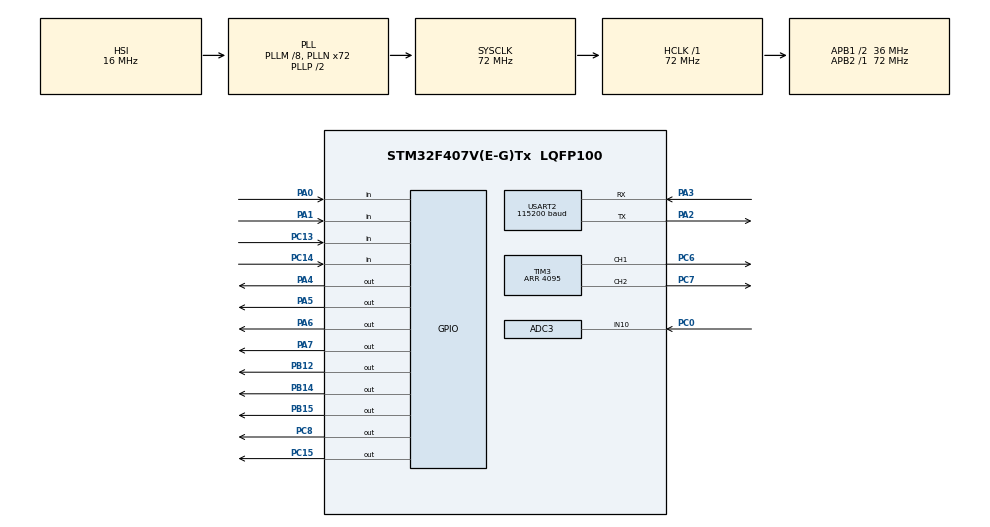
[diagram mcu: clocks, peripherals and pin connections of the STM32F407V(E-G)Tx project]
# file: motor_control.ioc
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ADC3.Channel-0\#ChannelRegularConversion=ADC_CHANNEL_10
ADC3.NbrOfConversionFlag=1
ADC3.Rank-0\#ChannelRegularConversion=1
ADC3.SamplingTime-0\#ChannelRegularConversion=ADC_SAMPLETIME_3CYCLES
Dma.Request0=USART2_RX
Dma.Request1=USART2_TX
Dma.USART2_RX.0.Direction=DMA_PERIPH_TO_MEMORY
Dma.USART2_RX.0.FIFOMode=DMA_FIFOMODE_DISABLE
Dma.USART2_RX.0.Instance=DMA1_Stream5
Dma.USART2_RX.0.MemDataAlignment=DMA_MDATAALIGN_BYTE
Dma.USART2_RX.0.MemInc=DMA_MINC_ENABLE
Dma.USART2_RX.0.Mode=DMA_NORMAL
Dma.USART2_RX.0.PeriphDataAlignment=DMA_PDATAALIGN_BYTE
Dma.USART2_RX.0.PeriphInc=DMA_PINC_DISABLE
Dma.USART2_RX.0.Priority=DMA_PRIORITY_LOW
Dma.USART2_TX.1.Direction=DMA_MEMORY_TO_PERIPH
Dma.USART2_TX.1.FIFOMode=DMA_FIFOMODE_DISABLE
Dma.USART2_TX.1.Instance=DMA1_Stream6
Dma.USART2_TX.1.MemDataAlignment=DMA_MDATAALIGN_BYTE
Dma.USART2_TX.1.MemInc=DMA_MINC_ENABLE
Dma.USART2_TX.1.Mode=DMA_NORMAL
Dma.USART2_TX.1.PeriphDataAlignment=DMA_PDATAALIGN_BYTE
Dma.USART2_TX.1.PeriphInc=DMA_PINC_DISABLE
Dma.USART2_TX.1.Priority=DMA_PRIORITY_LOW
Mcu.Family=STM32F4
Mcu.Name=STM32F407V(E-G)Tx
Mcu.Package=LQFP100
NVIC.DMA1_Stream5_IRQn=true\:0\:0\:false\:false\:true\:false\:true\:true
NVIC.DMA1_Stream6_IRQn=true\:0\:0\:false\:false\:true\:false\:true\:true
NVIC.PriorityGroup=NVIC_PRIORITYGROUP_4
NVIC.TIM6_DAC_IRQn=true\:0\:0\:false\:false\:true\:true\:true\:true
NVIC.USART2_IRQn=true\:0\:0\:false\:false\:true\:true\:true\:true
PA0-WKUP.Signal=GPIO_Input
PA1.Signal=GPIO_Input
PA13.Signal=SYS_JTMS-SWDIO
PA2.Mode=Asynchronous
PA2.Signal=USART2_TX
PA3.Mode=Asynchronous
PA3.Signal=USART2_RX
PA4.Signal=GPIO_Output
PA5.Signal=GPIO_Output
PA6.Signal=GPIO_Output
PA7.Signal=GPIO_Output
PB12.Signal=GPIO_Output
PB14.Signal=GPIO_Output
PB15.Signal=GPIO_Output
PC0.Signal=ADCx_IN10
PC13-ANTI_TAMP.Signal=GPIO_Input
PC14-OSC32_IN.Signal=GPIO_Input
PC15-OSC32_OUT.Signal=GPIO_Output
PC6.Signal=S_TIM3_CH1
PC7.Signal=S_TIM3_CH2
PC8.Signal=GPIO_Output
PH0-OSC_IN.Mode=HSE-External-Oscillator
PH0-OSC_IN.Signal=RCC_OSC_IN
PH1-OSC_OUT.Mode=HSE-External-Oscillator
PH1-OSC_OUT.Signal=RCC_OSC_OUT
ProjectManager.HeapSize=0x200
ProjectManager.StackSize=0x400
ProjectManager.TargetToolchain=STM32CubeIDE
RCC.48MHZClocksFreq_Value=36000000
RCC.AHBFreq_Value=72000000
RCC.APB1CLKDivider=RCC_HCLK_DIV2
RCC.APB1Freq_Value=36000000
RCC.APB1TimFreq_Value=72000000
RCC.APB2Freq_Value=72000000
RCC.APB2TimFreq_Value=72000000
RCC.CortexFreq_Value=72000000
RCC.HCLKFreq_Value=72000000
RCC.HSE_VALUE=25000000
RCC.HSI_VALUE=16000000
RCC.LSE_VALUE=32768
RCC.PLLM=8
RCC.PLLN=72
RCC.SYSCLKFreq_VALUE=72000000
RCC.SYSCLKSource=RCC_SYSCLKSOURCE_PLLCLK
RCC.VCOOutputFreq_Value=144000000
SH.ADCx_IN10.0=ADC3_IN10,IN10
SH.S_TIM3_CH1.0=TIM3_CH1,PWM Generation1 CH1
SH.S_TIM3_CH2.0=TIM3_CH2,PWM Generation2 CH2
TIM3.AutoReloadPreload=TIM_AUTORELOAD_PRELOAD_ENABLE
TIM3.Channel-PWM\ Generation1\ CH1=TIM_CHANNEL_1
TIM3.Channel-PWM\ Generation2\ CH2=TIM_CHANNEL_2
TIM3.Period=4095
TIM3.Pulse-PWM\ Generation1\ CH1=4095
TIM3.Pulse-PWM\ Generation2\ CH2=4095
TIM6.Period=999
TIM6.Prescaler=7199
TIM6.TIM_MasterOutputTrigger=TIM_TRGO_UPDATE
USART2.BaudRate=115200
USART2.Parity=PARITY_NONE
USART2.VirtualMode=VM_ASYNC
VP_TIM3_VS_ClockSourceINT.Mode=Internal
VP_TIM6_VS_ClockSourceINT.Mode=Enable_Timer
board=custom

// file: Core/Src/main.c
/* USER CODE BEGIN Header */
/**
  ******************************************************************************
  * @file           : main.c
  * @brief          : Main program body
  ******************************************************************************
  * @attention
  *
  * Copyright (c) 2023 STMicroelectronics.
  * All rights reserved.
  *
  * This software is licensed under terms that can be found in the LICENSE file
  * in the root directory of this software component.
  * If no LICENSE file comes with this software, it is provided AS-IS.
  *
  ******************************************************************************
  */
/* USER CODE END Header */
#include "main.h"

/* USER CODE BEGIN Includes */
#include <stdio.h>
#include <string.h>
#include <stdbool.h>

/* USER CODE END Includes */

/* USER CODE BEGIN PD */

#define SPRAYER_PIN_CLASS   GPIOB
#define SPRAYER_CONTROL_PIN GPIO_PIN_12
// Number of milliseconds we want to have the sprayer on for
#define SPRAYER_DELAY       1000  //1000

// These defines list the pins for the
// brushless motors that drive the chassis
#define MOTOR_HALT      0
#define MOTOR_F         1
#define MOTOR_FS        2
#define MOTOR_B         3
#define MOTOR_BS        4

#define TURN_MAX		12

#define CAMERA_HALT	    15		//15

// Number of milliseconds we want to ignore inputs during reset
#define IGNORE_DELAY    2000	//20000
// Time to wait after we've lost the object to reset
#define RESET_COUNT     100

#define FULL_SPEED      4095
#define HALF_SPEED      2048
#define REALLY_SLOW     1024

/* USER CODE END PD */

ADC_HandleTypeDef hadc3;

TIM_HandleTypeDef htim3;
TIM_HandleTypeDef htim6;

UART_HandleTypeDef huart2;
DMA_HandleTypeDef hdma_usart2_rx;
DMA_HandleTypeDef hdma_usart2_tx;

/* USER CODE BEGIN PV */
uint32_t VR;
uint8_t dma_tx_buffer[BUFFER_SIZE];
uint8_t dma_rx_buffer[BUFFER_SIZE];
//uint8_t finished_turn;
//uint8_t handled_detected_object;
uint8_t global_status;
int8_t direction;
float degree;
// The amount of time the camera has been held in place
uint16_t spray_counter_1;

// The amount of time the chassis has been halted
uint16_t spray_counter_2;

// The amount of time the sprayer has remaining to spray
int16_t spray_time;

// The amount of time the object has been out of frame
uint16_t reset_counter;

// The amount of time remaining in which we ignore input
int16_t ignore_counter;

// Angle the camera has turned to allow us to reset to center
int turn_counter;

// Global variable that determines the state of the
// motors
// 0: halt, 1: forward, 2: backward
//volatile uint8_t MOTOR_STATE_VAR;

/* USER CODE END PV */

void SystemClock_Config(void);
static void MX_GPIO_Init(void);
static void MX_DMA_Init(void);
static void MX_ADC3_Init(void);
static void MX_USART2_UART_Init(void);
static void MX_TIM6_Init(void);
static void MX_TIM3_Init(void);
/* USER CODE BEGIN PFP */

void stepper_half_drive(int step);
void stepper_step_angle (float angle, int direction);
void motor_state_selector(int state);
void stepper_motor_reset(void);
void loop_motor_wait(int ticks);

// Takes a state input and sets the motor pins
// to execute the movement as follows:
// 0 - halt
// 1 - forward
// 2 - backward
// 3 - left
// 4 - right
void change_motor_state(short state);

int abs(int x)
{
	int i;
	if (x < 0)
	{
		i = (-1) * x;
		return i;
	}
	return x;
}

// Takes the arm motor's current state and returns the
// updated state with respect to the ARM global variable
int check_aim(int state);

/* USER CODE END PFP */

/* USER CODE BEGIN 0 */

void HAL_TIM_PeriodElapsedCallback(TIM_HandleTypeDef *htim)
{

  memcpy(dma_tx_buffer, dma_rx_buffer, BUFFER_SIZE);
//  memset(dma_rx_buffer, 0, BUFFER_SIZE);
  if (global_status == 1)
  {
	  //Check for Stepper motor command
	  if(dma_tx_buffer[0] == 'R')
	  {
		  direction = 1;
		  degree = 4.0;
		  spray_counter_1 = 0;
		  reset_counter = 0;
	  }
	  else if(dma_tx_buffer[0] == 'r')
	  {
		  direction = 1;
		  degree = 2.0;
		  spray_counter_1 = 0;
		  reset_counter = 0;
	  }
	  else if(dma_tx_buffer[0] == 'L')
	  {
		  direction = 0;
		  degree = 4.0;
		  spray_counter_1 = 0;
		  reset_counter = 0;
	  }
	  else if(dma_tx_buffer[0] == 'l')
	  {
		  direction = 0;
		  degree = 2.0;
		  spray_counter_1 = 0;
		  reset_counter = 0;
	  }
	  else if (dma_tx_buffer[0] == 'H')
	  {
		  direction = 2;
		  degree = 0.0;
		  reset_counter = 0;
		  if(spray_counter_1 <= CAMERA_HALT)
		  {
			  spray_counter_1++;
		  }
	  }
	  else if (dma_tx_buffer[0] == 'M')
	  {
		  direction = 2;
		  degree = 0.0;
		  if (reset_counter <= RESET_COUNT)
		  {
			  reset_counter++;
		  }
	  }
	  else
	  {
		  direction = 2;
		  degree = 0.0;
	  }

	  if(dma_tx_buffer[1] == 'F')
	  {
		  motor_state_selector(MOTOR_F);
		  spray_counter_2 = 0;
		  reset_counter = 0;

	  }
	  else if(dma_tx_buffer[1] == 'S')
	  {
		  motor_state_selector(MOTOR_FS);
		  spray_counter_2 = 0;
		  reset_counter = 0;
	  }
	  else if(dma_tx_buffer[1] == 'H')
	  {
		  motor_state_selector(MOTOR_HALT);
		  reset_counter = 0;
		  if(spray_counter_2 <= CAMERA_HALT)
		  {
			  spray_counter_2++;
		  }
	  }
	  else
	  {
		  // We did not detect the object, halt and wait for further info
		  motor_state_selector(MOTOR_HALT);
	  }

  }

}

void HAL_UART_RxCpltCallback(UART_HandleTypeDef *huart)
{
//  memcpy(dma_tx_buffer, dma_rx_buffer, BUFFER_SIZE);
//  if (global_status == 1)
//  {
//	  //Check for Stepper motor command
//	  if(dma_tx_buffer[0] == 'R')
//	  {
//		  direction = 1;
//		  degree = 10.0;
//		  spray_counter_1 = 0;
//		  reset_counter = 0;
//	  }
//	  else if(dma_tx_buffer[0] == 'r')
//	  {
//		  direction = 1;
//		  degree = 5.0;
//		  spray_counter_1 = 0;
//		  reset_counter = 0;
//	  }
//	  else if(dma_tx_buffer[0] == 'L')
//	  {
//		  direction = 0;
//		  degree = 10.0;
//		  spray_counter_1 = 0;
//		  reset_counter = 0;
//	  }
//	  else if(dma_tx_buffer[0] == 'l')
//	  {
//		  direction = 0;
//		  degree = 5.0;
//		  spray_counter_1 = 0;
//		  reset_counter = 0;
//	  }
//	  else if (dma_tx_buffer[0] == 'H')
//	  {
//		  direction = 2;
//		  degree = 0.0;
//		  reset_counter = 0;
//		  if(spray_counter_1 <= CAMERA_HALT)
//		  {
//			  ++spray_counter_1;
//		  }
//	  }
//	  else if (dma_tx_buffer[0] == 'M')
//	  {
//		  direction = 2;
//		  degree = 0.0;
//		  if (reset_counter <= RESET_COUNT)
//		  {
//			  ++reset_counter;
//		  }
//	  }
//	  else
//	  {
//		  direction = 2;
//		  degree = 0.0;
//	  }
//
//
//	  if(dma_tx_buffer[1] == 'F')
//	  {
//		  motor_state_selector(MOTOR_F);
//		  spray_counter_2 = 0;
//		  reset_counter = 0;
//
//	  }
//	  else if(dma_tx_buffer[1] == 'S')
//	  {
//		  motor_state_selector(MOTOR_FS);
//		  spray_counter_2 = 0;
//		  reset_counter = 0;
//	  }
//	  else if(dma_tx_buffer[1] == 'H')
//	  {
//		  motor_state_selector(MOTOR_HALT);
//		  reset_counter = 0;
//		  if(spray_counter_2 <= CAMERA_HALT)
//		  {
//			  ++spray_counter_2;
//		  }
//	  }
//	  else
//	  {
//		  // We did not detect the object, halt and wait for further info
//		  motor_state_selector(MOTOR_HALT);
//	  }
//
//  }
  HAL_UART_Receive_DMA(&huart2, dma_rx_buffer, 2);
}

void DMA_Message_Init(void)
{
	uint8_t i;
	for(i = 0; i < BUFFER_SIZE; i++)
	{
		dma_rx_buffer[i] = 'M';
		dma_tx_buffer[i] = 'M';
	}
}

void Counter_Init(void)
{
	spray_counter_1 = 0;
	spray_counter_2 = 0;
	spray_time = 0;
	reset_counter = 0;
	ignore_counter = 0;
	turn_counter = 0;
	direction = 2;
	degree = 0.0;
}

void Global_Status_Init(void)
{
	global_status = 0;
}

void stepper_motor_reset(void)
{

	if(turn_counter < 0)
	{
		direction = 0;
		degree = (float)(turn_counter * 2 * -1);
		stepper_step_angle(degree, direction);
	}
	else if (turn_counter > 0)
	{
		direction = 1;
		degree = (float)(turn_counter * 2);
		stepper_step_angle(degree, direction);
	}

//	degree = (float)(turn_counter * 5);
//	stepper_step_angle(degree, direction);
	turn_counter = 0;
//	turn_amount = 0;
}

/* USER CODE END 0 */

int main(void)
{

  /* MCU Configuration--------------------------------------------------------*/

  /* Reset of all peripherals, Initializes the Flash interface and the Systick. */
  HAL_Init();

  /* Configure the system clock */
  SystemClock_Config();

  /* Initialize all configured peripherals */
  MX_GPIO_Init();
  MX_DMA_Init();
  MX_ADC3_Init();
  MX_USART2_UART_Init();
  MX_TIM6_Init();
  MX_TIM3_Init();
  /* USER CODE BEGIN 2 */
  HAL_ADC_Start_DMA(&hadc3, &VR, 1);
  DMA_Message_Init();
  HAL_UART_Receive_DMA(&huart2, dma_rx_buffer, 2);
  HAL_TIM_Base_Start_IT(&htim6);
  HAL_TIM_PWM_Start(&htim3, TIM_CHANNEL_1);
  HAL_TIM_PWM_Start(&htim3, TIM_CHANNEL_2);
  Global_Status_Init();
  Counter_Init();
//  turn_counter = 0;
  /* USER CODE END 2 */

  /* Infinite loop */
  /* USER CODE BEGIN WHILE */
  while (1)
  {
//	  if (test) {
//		  test = false;
//		  stepper_step_angle(60.0, 1);
//	  }
//	  stepper_step_angle(30, 1);

//	  motor_state_selector(MOTOR_F);
//	  stepper_motor_reset();

	  if (global_status == 0)
	  {
		  if (dma_tx_buffer[0] != 'M' && dma_tx_buffer[1] != 'M' )
		  {
			  global_status = 1;
		  }
		  else
		  {
			  motor_state_selector(MOTOR_F);
		  }

	  }

	  if (global_status == 1)
	  {
		  if (reset_counter <= RESET_COUNT && spray_counter_1 <= CAMERA_HALT && spray_counter_2 <= CAMERA_HALT)
		  {
			  // Rotate sprayer nozzle and track total degrees

			  if(direction == 0)
			  {
				  if(degree == 4.0)
				  {
					  turn_counter = turn_counter + 2;
				  }
				  else if(degree == 2.0)
				  {
					  turn_counter = turn_counter + 1;;
				  }
			  }
			  else if (direction == 1)
			  {
				  if(degree == 4.0)
				  {
					  turn_counter = turn_counter - 2;
				  }
				  else if(degree == 2.0)
				  {
					  turn_counter = turn_counter -1;
				  }
			  }
			  stepper_step_angle(degree, direction);
	//		  stepper_step_angle(degree, direction);
//			  if (abs(turn_counter + turn_amount) > TURN_MAX) {
//				  // We are being asked to overturn, give up on this target and move on
//				  stepper_motor_reset();
//			  } else {
//				  // The turn looks good, execute

//			  }
		  }
		  else if (reset_counter <= RESET_COUNT && spray_counter_1 > CAMERA_HALT && spray_counter_2 > CAMERA_HALT)
		  {
			  global_status = 2;
		  }
		  else if (reset_counter > RESET_COUNT)
		  {
			  stepper_motor_reset();
			  Counter_Init();
			  global_status = 0;
		  }
	  }

	  if (global_status == 2)
	  {
		  if (spray_time <= SPRAYER_DELAY) {
			  HAL_GPIO_WritePin(SPRAYER_PIN_CLASS, SPRAYER_CONTROL_PIN, GPIO_PIN_SET);
			  spray_time++;
		  }
		  else
		  {
			  // We have finished spraying
			  HAL_GPIO_WritePin(SPRAYER_PIN_CLASS, SPRAYER_CONTROL_PIN, GPIO_PIN_RESET);
			  stepper_motor_reset();
			  global_status = 3; // Reset
		  }
	  }
//
	  if (global_status == 3)
	  {
		  // Reset the sprayer and move forward
		  if (ignore_counter <= IGNORE_DELAY)
		  {
			  // Initialize the ignore timer
			  motor_state_selector(MOTOR_F);
			  ignore_counter++;
		  }
		  else
		  {
			  Counter_Init();
			  global_status = 0;
		  }
	  }

//	  if (global_status == 0 && (dma_tx_buffer[0] != 'M' || dma_tx_buffer[1] != 'M' ))
//	  {
//		  global_status = 1;
//	  }
//
////
//	  if (global_status == 1 && reset_counter > RESET_COUNT)
//	  {
//		  global_status = 0;
//		  stepper_motor_reset();
//		  Counter_Init();
//	  }
////
//	  if (global_status == 1 && spray_counter_1 > CAMERA_HALT && spray_counter_2 > CAMERA_HALT)
//	  {
//		  global_status = 2;
//	  }
////
//	  if (global_status == 3 && ignore_counter >= IGNORE_DELAY )
//	  {
//		  global_status = 0;
//		  Counter_Init();
//	  }

    /* USER CODE END WHILE */

    /* USER CODE BEGIN 3 */
//	if(finished_turn == 0)
//	{
//		stepper_step_angle(degree, direction);
//		dma_rx_buffer[0] = 'H';
//		dma_rx_buffer[1] = 'M';
//		finished_turn = 1;
//	}
//	if (spray_counter != -1 && spray_counter != 0) spray_counter--;
//    if (spray_counter == 0) {
//      // Turn on the sprayer
//      spray_counter = -1;
//      HAL_GPIO_WritePin(SPRAYER_PIN_CLASS, SPRAYER_CONTROL_PIN, GPIO_PIN_SET);
//      sprayer_delay = SPRAYER_DELAY;
//    } else if (sprayer_delay == 0) {
//      // Turn off the sprayer
//      HAL_GPIO_WritePin(SPRAYER_PIN_CLASS, SPRAYER_CONTROL_PIN, GPIO_PIN_RESET);
//      MOTOR_STATE_VAR = 1;
//    } else {
//    	sprayer_delay--;
//    }
//
//    if (1) {
//    	motor_state_selector(MOTOR_STATE_VAR);
//    	motor_delay = MOTOR_DELAY;
//    }

    HAL_Delay(1);
  }
  /* USER CODE END 3 */
}

void SystemClock_Config(void)
{
  RCC_OscInitTypeDef RCC_OscInitStruct = {0};
  RCC_ClkInitTypeDef RCC_ClkInitStruct = {0};

  /** Configure the main internal regulator output voltage
  */
  __HAL_RCC_PWR_CLK_ENABLE();
  __HAL_PWR_VOLTAGESCALING_CONFIG(PWR_REGULATOR_VOLTAGE_SCALE1);

  /** Initializes the RCC Oscillators according to the specified parameters
  * in the RCC_OscInitTypeDef structure.
  */
  RCC_OscInitStruct.OscillatorType = RCC_OSCILLATORTYPE_HSI;
  RCC_OscInitStruct.HSIState = RCC_HSI_ON;
  RCC_OscInitStruct.HSICalibrationValue = RCC_HSICALIBRATION_DEFAULT;
  RCC_OscInitStruct.PLL.PLLState = RCC_PLL_ON;
  RCC_OscInitStruct.PLL.PLLSource = RCC_PLLSOURCE_HSI;
  RCC_OscInitStruct.PLL.PLLM = 8;
  RCC_OscInitStruct.PLL.PLLN = 72;
  RCC_OscInitStruct.PLL.PLLP = RCC_PLLP_DIV2;
  RCC_OscInitStruct.PLL.PLLQ = 4;
  if (HAL_RCC_OscConfig(&RCC_OscInitStruct) != HAL_OK)
  {
    Error_Handler();
  }

  /** Initializes the CPU, AHB and APB buses clocks
  */
  RCC_ClkInitStruct.ClockType = RCC_CLOCKTYPE_HCLK|RCC_CLOCKTYPE_SYSCLK
                              |RCC_CLOCKTYPE_PCLK1|RCC_CLOCKTYPE_PCLK2;
  RCC_ClkInitStruct.SYSCLKSource = RCC_SYSCLKSOURCE_PLLCLK;
  RCC_ClkInitStruct.AHBCLKDivider = RCC_SYSCLK_DIV1;
  RCC_ClkInitStruct.APB1CLKDivider = RCC_HCLK_DIV2;
  RCC_ClkInitStruct.APB2CLKDivider = RCC_HCLK_DIV1;

  if (HAL_RCC_ClockConfig(&RCC_ClkInitStruct, FLASH_LATENCY_2) != HAL_OK)
  {
    Error_Handler();
  }
}

static void MX_ADC3_Init(void)
{

  ADC_ChannelConfTypeDef sConfig = {0};

  /** Configure the global features of the ADC (Clock, Resolution, Data Alignment and number of conversion)
  */
  hadc3.Instance = ADC3;
  hadc3.Init.ClockPrescaler = ADC_CLOCK_SYNC_PCLK_DIV2;
  hadc3.Init.Resolution = ADC_RESOLUTION_12B;
  hadc3.Init.ScanConvMode = DISABLE;
  hadc3.Init.ContinuousConvMode = DISABLE;
  hadc3.Init.DiscontinuousConvMode = DISABLE;
  hadc3.Init.ExternalTrigConvEdge = ADC_EXTERNALTRIGCONVEDGE_NONE;
  hadc3.Init.ExternalTrigConv = ADC_SOFTWARE_START;
  hadc3.Init.DataAlign = ADC_DATAALIGN_RIGHT;
  hadc3.Init.NbrOfConversion = 1;
  hadc3.Init.DMAContinuousRequests = DISABLE;
  hadc3.Init.EOCSelection = ADC_EOC_SINGLE_CONV;
  if (HAL_ADC_Init(&hadc3) != HAL_OK)
  {
    Error_Handler();
  }

  /** Configure for the selected ADC regular channel its corresponding rank in the sequencer and its sample time.
  */
  sConfig.Channel = ADC_CHANNEL_10;
  sConfig.Rank = 1;
  sConfig.SamplingTime = ADC_SAMPLETIME_3CYCLES;
  if (HAL_ADC_ConfigChannel(&hadc3, &sConfig) != HAL_OK)
  {
    Error_Handler();
  }

}

static void MX_TIM3_Init(void)
{

  TIM_ClockConfigTypeDef sClockSourceConfig = {0};
  TIM_MasterConfigTypeDef sMasterConfig = {0};
  TIM_OC_InitTypeDef sConfigOC = {0};

  htim3.Instance = TIM3;
  htim3.Init.Prescaler = 0;
  htim3.Init.CounterMode = TIM_COUNTERMODE_UP;
  htim3.Init.Period = 4095;
  htim3.Init.ClockDivision = TIM_CLOCKDIVISION_DIV1;
  htim3.Init.AutoReloadPreload = TIM_AUTORELOAD_PRELOAD_ENABLE;
  if (HAL_TIM_Base_Init(&htim3) != HAL_OK)
  {
    Error_Handler();
  }
  sClockSourceConfig.ClockSource = TIM_CLOCKSOURCE_INTERNAL;
  if (HAL_TIM_ConfigClockSource(&htim3, &sClockSourceConfig) != HAL_OK)
  {
    Error_Handler();
  }
  if (HAL_TIM_PWM_Init(&htim3) != HAL_OK)
  {
    Error_Handler();
  }
  sMasterConfig.MasterOutputTrigger = TIM_TRGO_RESET;
  sMasterConfig.MasterSlaveMode = TIM_MASTERSLAVEMODE_DISABLE;
  if (HAL_TIMEx_MasterConfigSynchronization(&htim3, &sMasterConfig) != HAL_OK)
  {
    Error_Handler();
  }
  sConfigOC.OCMode = TIM_OCMODE_PWM1;
  sConfigOC.Pulse = 4095;
  sConfigOC.OCPolarity = TIM_OCPOLARITY_HIGH;
  sConfigOC.OCFastMode = TIM_OCFAST_DISABLE;
  if (HAL_TIM_PWM_ConfigChannel(&htim3, &sConfigOC, TIM_CHANNEL_1) != HAL_OK)
  {
    Error_Handler();
  }
  if (HAL_TIM_PWM_ConfigChannel(&htim3, &sConfigOC, TIM_CHANNEL_2) != HAL_OK)
  {
    Error_Handler();
  }
  HAL_TIM_MspPostInit(&htim3);

}

static void MX_TIM6_Init(void)
{

  TIM_MasterConfigTypeDef sMasterConfig = {0};

  htim6.Instance = TIM6;
  htim6.Init.Prescaler = 7199;
  htim6.Init.CounterMode = TIM_COUNTERMODE_UP;
  htim6.Init.Period = 999;
  htim6.Init.AutoReloadPreload = TIM_AUTORELOAD_PRELOAD_DISABLE;
  if (HAL_TIM_Base_Init(&htim6) != HAL_OK)
  {
    Error_Handler();
  }
  sMasterConfig.MasterOutputTrigger = TIM_TRGO_UPDATE;
  sMasterConfig.MasterSlaveMode = TIM_MASTERSLAVEMODE_DISABLE;
  if (HAL_TIMEx_MasterConfigSynchronization(&htim6, &sMasterConfig) != HAL_OK)
  {
    Error_Handler();
  }

}

static void MX_USART2_UART_Init(void)
{

  huart2.Instance = USART2;
  huart2.Init.BaudRate = 115200;
  huart2.Init.WordLength = UART_WORDLENGTH_8B;
  huart2.Init.StopBits = UART_STOPBITS_1;
  huart2.Init.Parity = UART_PARITY_NONE;
  huart2.Init.Mode = UART_MODE_TX_RX;
  huart2.Init.HwFlowCtl = UART_HWCONTROL_NONE;
  huart2.Init.OverSampling = UART_OVERSAMPLING_16;
  if (HAL_UART_Init(&huart2) != HAL_OK)
  {
    Error_Handler();
  }

}

static void MX_DMA_Init(void)
{

  /* DMA controller clock enable */
  __HAL_RCC_DMA1_CLK_ENABLE();

  /* DMA interrupt init */
  /* DMA1_Stream5_IRQn interrupt configuration */
  HAL_NVIC_SetPriority(DMA1_Stream5_IRQn, 0, 0);
  HAL_NVIC_EnableIRQ(DMA1_Stream5_IRQn);
  /* DMA1_Stream6_IRQn interrupt configuration */
  HAL_NVIC_SetPriority(DMA1_Stream6_IRQn, 0, 0);
  HAL_NVIC_EnableIRQ(DMA1_Stream6_IRQn);

}

static void MX_GPIO_Init(void)
{
  GPIO_InitTypeDef GPIO_InitStruct = {0};

  /* GPIO Ports Clock Enable */
  __HAL_RCC_GPIOC_CLK_ENABLE();
  __HAL_RCC_GPIOH_CLK_ENABLE();
  __HAL_RCC_GPIOA_CLK_ENABLE();
  __HAL_RCC_GPIOB_CLK_ENABLE();

  /*Configure GPIO pin Output Level */
  HAL_GPIO_WritePin(GPIOC, GPIO_PIN_15|GPIO_PIN_8, GPIO_PIN_RESET);

  /*Configure GPIO pin Output Level */
  HAL_GPIO_WritePin(GPIOA, GPIO_PIN_4|GPIO_PIN_5|GPIO_PIN_6|GPIO_PIN_7, GPIO_PIN_RESET);

  /*Configure GPIO pin Output Level */
  HAL_GPIO_WritePin(GPIOB, GPIO_PIN_12|GPIO_PIN_14|GPIO_PIN_15, GPIO_PIN_RESET);

  /*Configure GPIO pins : PC13 PC14 */
  GPIO_InitStruct.Pin = GPIO_PIN_13|GPIO_PIN_14;
  GPIO_InitStruct.Mode = GPIO_MODE_INPUT;
  GPIO_InitStruct.Pull = GPIO_NOPULL;
  HAL_GPIO_Init(GPIOC, &GPIO_InitStruct);

  /*Configure GPIO pins : PC15 PC8 */
  GPIO_InitStruct.Pin = GPIO_PIN_15|GPIO_PIN_8;
  GPIO_InitStruct.Mode = GPIO_MODE_OUTPUT_PP;
  GPIO_InitStruct.Pull = GPIO_NOPULL;
  GPIO_InitStruct.Speed = GPIO_SPEED_FREQ_LOW;
  HAL_GPIO_Init(GPIOC, &GPIO_InitStruct);

  /*Configure GPIO pins : PA0 PA1 */
  GPIO_InitStruct.Pin = GPIO_PIN_0|GPIO_PIN_1;
  GPIO_InitStruct.Mode = GPIO_MODE_INPUT;
  GPIO_InitStruct.Pull = GPIO_NOPULL;
  HAL_GPIO_Init(GPIOA, &GPIO_InitStruct);

  /*Configure GPIO pins : PA4 PA5 PA6 PA7 */
  GPIO_InitStruct.Pin = GPIO_PIN_4|GPIO_PIN_5|GPIO_PIN_6|GPIO_PIN_7;
  GPIO_InitStruct.Mode = GPIO_MODE_OUTPUT_PP;
  GPIO_InitStruct.Pull = GPIO_NOPULL;
  GPIO_InitStruct.Speed = GPIO_SPEED_FREQ_LOW;
  HAL_GPIO_Init(GPIOA, &GPIO_InitStruct);

  /*Configure GPIO pins : PB12 PB14 PB15 */
  GPIO_InitStruct.Pin = GPIO_PIN_12|GPIO_PIN_14|GPIO_PIN_15;
  GPIO_InitStruct.Mode = GPIO_MODE_OUTPUT_PP;
  GPIO_InitStruct.Pull = GPIO_NOPULL;
  GPIO_InitStruct.Speed = GPIO_SPEED_FREQ_LOW;
  HAL_GPIO_Init(GPIOB, &GPIO_InitStruct);

}

/* USER CODE BEGIN 4 */

void loop_motor_wait(int ticks) {
  int step = 0;
  while (ticks != 0) {
    stepper_half_drive(step);
    // Get ADC value
    HAL_ADC_Start(&hadc3);
    HAL_ADC_PollForConversion(&hadc3, 1);
    VR = HAL_ADC_GetValue(&hadc3);
    if (VR < 1365) {
      if (step == 0) {
        step = 7;
      } else {
        step--;
      }
    } else if (VR > 1365*2) {
      step = (step + 1) % 8;
    }
    HAL_Delay(1);
    ticks--;
  }
}

void motor_state_selector(int state) {
	switch(state){
	  case 0:
		  // Halt
		  __HAL_TIM_SET_COMPARE(&htim3, TIM_CHANNEL_1, 0);
		  __HAL_TIM_SET_COMPARE(&htim3, TIM_CHANNEL_2, 0);
		  HAL_GPIO_WritePin(GPIOB, GPIO_PIN_15, GPIO_PIN_RESET);// PIN B15 off
		  HAL_GPIO_WritePin(GPIOB, GPIO_PIN_14, GPIO_PIN_RESET);// PIN B15 off
		  return;
	  case 1:
		  // Forward
		  // 4095 correlates with max speed (100% duty cycle) in the forward direction,
		  __HAL_TIM_SET_COMPARE(&htim3, TIM_CHANNEL_1, HALF_SPEED);
		  __HAL_TIM_SET_COMPARE(&htim3, TIM_CHANNEL_2, HALF_SPEED);
		  HAL_GPIO_WritePin(GPIOB, GPIO_PIN_15, GPIO_PIN_RESET);// PIN B15 off
		  HAL_GPIO_WritePin(GPIOB, GPIO_PIN_14, GPIO_PIN_RESET);// PIN B14 off
		  return;
	  case 2:
		  // Forward slowly
		  // 4095 correlates with max speed (100% duty cycle) in the forward direction,
		  __HAL_TIM_SET_COMPARE(&htim3, TIM_CHANNEL_1, REALLY_SLOW);
		  __HAL_TIM_SET_COMPARE(&htim3, TIM_CHANNEL_2, REALLY_SLOW);
		  HAL_GPIO_WritePin(GPIOB, GPIO_PIN_15, GPIO_PIN_RESET);// PIN B15 off
		  HAL_GPIO_WritePin(GPIOB, GPIO_PIN_14, GPIO_PIN_RESET);// PIN B14 off
		  return;
	  case 3:
		  // Backward
		  // 2048 correlates with max speed (50% duty cycle) in the backward direction,
		  __HAL_TIM_SET_COMPARE(&htim3, TIM_CHANNEL_1, REALLY_SLOW);
		  __HAL_TIM_SET_COMPARE(&htim3, TIM_CHANNEL_2, REALLY_SLOW);
		  HAL_GPIO_WritePin(GPIOB, GPIO_PIN_15, GPIO_PIN_SET);// PIN B15 on
		  HAL_GPIO_WritePin(GPIOB, GPIO_PIN_14, GPIO_PIN_SET);// PIN B14 on
		  return;
	  case 4:
		  // Backward
		  // 2048 correlates with max speed (50% duty cycle) in the backward direction,
		  __HAL_TIM_SET_COMPARE(&htim3, TIM_CHANNEL_1, REALLY_SLOW);
		  __HAL_TIM_SET_COMPARE(&htim3, TIM_CHANNEL_2, REALLY_SLOW);
		  HAL_GPIO_WritePin(GPIOB, GPIO_PIN_15, GPIO_PIN_SET);// PIN B15 on
		  HAL_GPIO_WritePin(GPIOB, GPIO_PIN_14, GPIO_PIN_SET);// PIN B14 on
		  return;
	}
}

// BLOCKING OPERATION, TAKES <<ANGLE>> MILLISECONDS TO COMPLETE
void stepper_step_angle (float angle, int direction)
{
	float anglepersequence = 0.703125;  // 360 = 512 sequences
	int numberofsequences = (int) (angle/anglepersequence);

	for (int seq=0; seq<numberofsequences; seq++)
	{
		if (direction == 0)  // for clockwise
		{
			for (int step=7; step>=0; step--)
			{
				stepper_half_drive(step);
        HAL_Delay(1);
				// stepper_set_rpm(rpm);
			}

		}

		else if (direction == 1)  // for anti-clockwise
		{
			for (int step=0; step<8; step++)
			{
				stepper_half_drive(step);
        HAL_Delay(1);
				// stepper_set_rpm(rpm);
			}
		}
	}
}

void stepper_half_drive (int step)
{
  switch (step){
    case 0:
        HAL_GPIO_WritePin(GPIOA, GPIO_PIN_4, GPIO_PIN_SET);   // IN1
        HAL_GPIO_WritePin(GPIOA, GPIO_PIN_5, GPIO_PIN_RESET);   // IN2
        HAL_GPIO_WritePin(GPIOA, GPIO_PIN_6, GPIO_PIN_RESET);   // IN3
        HAL_GPIO_WritePin(GPIOA, GPIO_PIN_7, GPIO_PIN_RESET);   // IN4
        break;

    case 1:
        HAL_GPIO_WritePin(GPIOA, GPIO_PIN_4, GPIO_PIN_SET);   // IN1
        HAL_GPIO_WritePin(GPIOA, GPIO_PIN_5, GPIO_PIN_SET);   // IN2
        HAL_GPIO_WritePin(GPIOA, GPIO_PIN_6, GPIO_PIN_RESET);   // IN3
        HAL_GPIO_WritePin(GPIOA, GPIO_PIN_7, GPIO_PIN_RESET);   // IN4
        break;

    case 2:
        HAL_GPIO_WritePin(GPIOA, GPIO_PIN_4, GPIO_PIN_RESET);   // IN1
        HAL_GPIO_WritePin(GPIOA, GPIO_PIN_5, GPIO_PIN_SET);   // IN2
        HAL_GPIO_WritePin(GPIOA, GPIO_PIN_6, GPIO_PIN_RESET);   // IN3
        HAL_GPIO_WritePin(GPIOA, GPIO_PIN_7, GPIO_PIN_RESET);   // IN4
        break;

    case 3:
        HAL_GPIO_WritePin(GPIOA, GPIO_PIN_4, GPIO_PIN_RESET);   // IN1
        HAL_GPIO_WritePin(GPIOA, GPIO_PIN_5, GPIO_PIN_SET);   // IN2
        HAL_GPIO_WritePin(GPIOA, GPIO_PIN_6, GPIO_PIN_SET);   // IN3
        HAL_GPIO_WritePin(GPIOA, GPIO_PIN_7, GPIO_PIN_RESET);   // IN4
        break;

    case 4:
        HAL_GPIO_WritePin(GPIOA, GPIO_PIN_4, GPIO_PIN_RESET);   // IN1
        HAL_GPIO_WritePin(GPIOA, GPIO_PIN_5, GPIO_PIN_RESET);   // IN2
        HAL_GPIO_WritePin(GPIOA, GPIO_PIN_6, GPIO_PIN_SET);   // IN3
        HAL_GPIO_WritePin(GPIOA, GPIO_PIN_7, GPIO_PIN_RESET);   // IN4
        break;

    case 5:
        HAL_GPIO_WritePin(GPIOA, GPIO_PIN_4, GPIO_PIN_RESET);   // IN1
        HAL_GPIO_WritePin(GPIOA, GPIO_PIN_5, GPIO_PIN_RESET);   // IN2
        HAL_GPIO_WritePin(GPIOA, GPIO_PIN_6, GPIO_PIN_SET);   // IN3
        HAL_GPIO_WritePin(GPIOA, GPIO_PIN_7, GPIO_PIN_SET);   // IN4
        break;

    case 6:
        HAL_GPIO_WritePin(GPIOA, GPIO_PIN_4, GPIO_PIN_RESET);   // IN1
        HAL_GPIO_WritePin(GPIOA, GPIO_PIN_5, GPIO_PIN_RESET);   // IN2
        HAL_GPIO_WritePin(GPIOA, GPIO_PIN_6, GPIO_PIN_RESET);   // IN3
        HAL_GPIO_WritePin(GPIOA, GPIO_PIN_7, GPIO_PIN_SET);   // IN4
        break;

    case 7:
        HAL_GPIO_WritePin(GPIOA, GPIO_PIN_4, GPIO_PIN_SET);   // IN1
        HAL_GPIO_WritePin(GPIOA, GPIO_PIN_5, GPIO_PIN_RESET);   // IN2
        HAL_GPIO_WritePin(GPIOA, GPIO_PIN_6, GPIO_PIN_RESET);   // IN3
        HAL_GPIO_WritePin(GPIOA, GPIO_PIN_7, GPIO_PIN_SET);   // IN4
        break;

    }
}

//void change_motor_state(short state)
//{
//  switch(state){
//    case 0:
//    // Halt
//      HAL_GPIO_WritePin(MOTOR_PIN_CLASS, MOTOR_FORWARD_1, GPIO_PIN_RESET);
//      HAL_GPIO_WritePin(MOTOR_PIN_CLASS, MOTOR_REVERSE_1, GPIO_PIN_RESET);
//      HAL_GPIO_WritePin(MOTOR_PIN_CLASS, MOTOR_FORWARD_2, GPIO_PIN_RESET);
//      HAL_GPIO_WritePin(MOTOR_PIN_CLASS, MOTOR_REVERSE_2, GPIO_PIN_RESET);
//    case 1:
//    // Forward
//      HAL_GPIO_WritePin(MOTOR_PIN_CLASS, MOTOR_FORWARD_1, GPIO_PIN_SET);
//      HAL_GPIO_WritePin(MOTOR_PIN_CLASS, MOTOR_REVERSE_1, GPIO_PIN_RESET);
//      HAL_GPIO_WritePin(MOTOR_PIN_CLASS, MOTOR_FORWARD_2, GPIO_PIN_SET);
//      HAL_GPIO_WritePin(MOTOR_PIN_CLASS, MOTOR_REVERSE_2, GPIO_PIN_RESET);
//    case 2:
//    // Backward
//      HAL_GPIO_WritePin(MOTOR_PIN_CLASS, MOTOR_FORWARD_1, GPIO_PIN_RESET);
//      HAL_GPIO_WritePin(MOTOR_PIN_CLASS, MOTOR_REVERSE_1, GPIO_PIN_SET);
//      HAL_GPIO_WritePin(MOTOR_PIN_CLASS, MOTOR_FORWARD_2, GPIO_PIN_RESET);
//      HAL_GPIO_WritePin(MOTOR_PIN_CLASS, MOTOR_REVERSE_2, GPIO_PIN_SET);
//    case 3:
//    // Left
//      HAL_GPIO_WritePin(MOTOR_PIN_CLASS, MOTOR_FORWARD_1, GPIO_PIN_RESET);
//      HAL_GPIO_WritePin(MOTOR_PIN_CLASS, MOTOR_REVERSE_1, GPIO_PIN_SET);
//      HAL_GPIO_WritePin(MOTOR_PIN_CLASS, MOTOR_FORWARD_2, GPIO_PIN_SET);
//      HAL_GPIO_WritePin(MOTOR_PIN_CLASS, MOTOR_REVERSE_2, GPIO_PIN_RESET);
//    case 4:
//    // Left
//      HAL_GPIO_WritePin(MOTOR_PIN_CLASS, MOTOR_FORWARD_1, GPIO_PIN_SET);
//      HAL_GPIO_WritePin(MOTOR_PIN_CLASS, MOTOR_REVERSE_1, GPIO_PIN_RESET);
//      HAL_GPIO_WritePin(MOTOR_PIN_CLASS, MOTOR_FORWARD_2, GPIO_PIN_RESET);
//      HAL_GPIO_WritePin(MOTOR_PIN_CLASS, MOTOR_REVERSE_2, GPIO_PIN_SET);
//  }
//}

//int check_aim(int state) {
//  // Get ADC value
//  if (AIM == 1) {
//    if (state == 0) {
//      state = 7;
//    } else {
//      state--;
//    }
//  } else if (AIM == 2) {
//    state = (state + 1) % 8;
//  }
//  return state;
//}

/* USER CODE END 4 */

void Error_Handler(void)
{
  __disable_irq();
  while (1)
  {
  }
}
